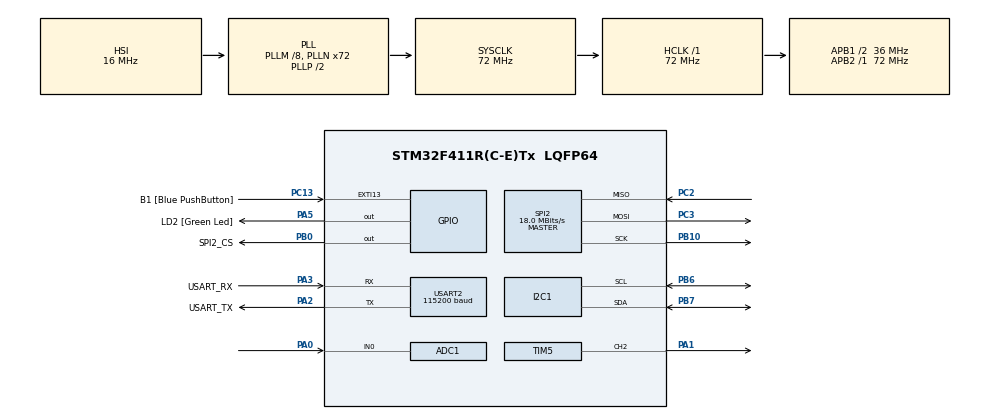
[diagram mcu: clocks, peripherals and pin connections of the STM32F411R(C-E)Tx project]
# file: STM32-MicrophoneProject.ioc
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ADC1.Channel-0\#ChannelRegularConversion=ADC_CHANNEL_0
ADC1.ClockPrescaler=ADC_CLOCK_SYNC_PCLK_DIV8
ADC1.ContinuousConvMode=ENABLE
ADC1.DMAContinuousRequests=ENABLE
ADC1.InjNumberOfConversion=0
ADC1.NbrOfConversion=1
ADC1.NbrOfConversionFlag=1
ADC1.Rank-0\#ChannelRegularConversion=1
ADC1.SamplingTime-0\#ChannelRegularConversion=ADC_SAMPLETIME_480CYCLES
ADC1.master=1
Dma.ADC1.0.Direction=DMA_PERIPH_TO_MEMORY
Dma.ADC1.0.FIFOMode=DMA_FIFOMODE_DISABLE
Dma.ADC1.0.Instance=DMA2_Stream0
Dma.ADC1.0.MemDataAlignment=DMA_MDATAALIGN_HALFWORD
Dma.ADC1.0.MemInc=DMA_MINC_ENABLE
Dma.ADC1.0.Mode=DMA_CIRCULAR
Dma.ADC1.0.PeriphDataAlignment=DMA_PDATAALIGN_HALFWORD
Dma.ADC1.0.PeriphInc=DMA_PINC_DISABLE
Dma.ADC1.0.Priority=DMA_PRIORITY_LOW
Dma.Request0=ADC1
FATFS._MAX_SS=4096
FATFS._USE_LFN=1
I2C1.OwnAddress=0x4E
Mcu.Family=STM32F4
Mcu.Name=STM32F411R(C-E)Tx
Mcu.Package=LQFP64
NVIC.DMA2_Stream0_IRQn=true\:2\:0\:true\:false\:true\:false\:true\:true
NVIC.EXTI15_10_IRQn=true\:1\:0\:true\:false\:true\:true\:true\:true
NVIC.PriorityGroup=NVIC_PRIORITYGROUP_2
NVIC.TIM3_IRQn=true\:2\:0\:true\:false\:true\:true\:true\:true
PA0-WKUP.Signal=ADCx_IN0
PA1.Signal=S_TIM5_CH2
PA13.GPIO_Label=TMS
PA13.Mode=Serial_Wire
PA13.Signal=SYS_JTMS-SWDIO
PA14.GPIO_Label=TCK
PA14.Mode=Serial_Wire
PA14.Signal=SYS_JTCK-SWCLK
PA2.GPIO_Label=USART_TX
PA2.Mode=Asynchronous
PA2.Signal=USART2_TX
PA3.GPIO_Label=USART_RX
PA3.Mode=Asynchronous
PA3.Signal=USART2_RX
PA5.GPIO_Label=LD2 [Green Led]
PA5.Signal=GPIO_Output
PB0.GPIO_Label=SPI2_CS
PB0.Signal=GPIO_Output
PB10.Mode=Full_Duplex_Master
PB10.Signal=SPI2_SCK
PB3.GPIO_Label=SWO
PB3.Signal=SYS_JTDO-SWO
PB6.Mode=I2C
PB6.Signal=I2C1_SCL
PB7.Mode=I2C
PB7.Signal=I2C1_SDA
PC13-ANTI_TAMP.GPIO_Label=B1 [Blue PushButton]
PC13-ANTI_TAMP.GPIO_ModeDefaultEXTI=GPIO_MODE_IT_FALLING
PC13-ANTI_TAMP.Signal=GPXTI13
PC14-OSC32_IN.Mode=LSE-External-Oscillator
PC14-OSC32_IN.Signal=RCC_OSC32_IN
PC15-OSC32_OUT.Mode=LSE-External-Oscillator
PC15-OSC32_OUT.Signal=RCC_OSC32_OUT
PC2.Mode=Full_Duplex_Master
PC2.Signal=SPI2_MISO
PC3.Mode=Full_Duplex_Master
PC3.Signal=SPI2_MOSI
PH0\ -\ OSC_IN.Mode=HSE-External-Oscillator
PH0\ -\ OSC_IN.Signal=RCC_OSC_IN
PH1\ -\ OSC_OUT.Mode=HSE-External-Oscillator
PH1\ -\ OSC_OUT.Signal=RCC_OSC_OUT
ProjectManager.HeapSize=0x200
ProjectManager.StackSize=0x400
ProjectManager.TargetToolchain=STM32CubeIDE
RCC.48MHZClocksFreq_Value=36000000
RCC.AHBFreq_Value=72000000
RCC.APB1CLKDivider=RCC_HCLK_DIV2
RCC.APB1Freq_Value=36000000
RCC.APB1TimFreq_Value=72000000
RCC.APB2Freq_Value=72000000
RCC.APB2TimFreq_Value=72000000
RCC.CortexFreq_Value=72000000
RCC.FLatency-AdvancedSettings=FLASH_LATENCY_2
RCC.HCLKFreq_Value=72000000
RCC.HSE_VALUE=8000000
RCC.HSI_VALUE=16000000
RCC.PLLM=8
RCC.PLLN=72
RCC.SYSCLKFreq_VALUE=72000000
RCC.SYSCLKSource=RCC_SYSCLKSOURCE_PLLCLK
RCC.VCOOutputFreq_Value=144000000
SH.ADCx_IN0.0=ADC1_IN0,IN0
SH.S_TIM5_CH2.0=TIM5_CH2,PWM Generation2 CH2
SPI2.CalculateBaudRate=18.0 MBits/s
SPI2.Direction=SPI_DIRECTION_2LINES
SPI2.Mode=SPI_MODE_MASTER
SPI2.VirtualType=VM_MASTER
TIM3.Period=9999
TIM3.Prescaler=7199
TIM5.Channel-PWM\ Generation2\ CH2=TIM_CHANNEL_2
TIM5.Period=14999
TIM5.Prescaler=38399
TIM5.Pulse-PWM\ Generation2\ CH2=12499
USART2.BaudRate=115200
USART2.VirtualMode=VM_ASYNC
VP_FATFS_VS_Generic.Mode=User_defined
VP_TIM3_VS_ClockSourceINT.Mode=Internal
VP_TIM5_VS_ClockSourceINT.Mode=Internal
board=NUCLEO-F411RE

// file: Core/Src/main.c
/* USER CODE BEGIN Header */
/**
  ******************************************************************************
  * @file           : main.c
  * @brief          : Main program body
  ******************************************************************************
  * @attention
  *
  * Copyright (c) 2024 STMicroelectronics.
  * All rights reserved.
  *
  * This software is licensed under terms that can be found in the LICENSE file
  * in the root directory of this software component.
  * If no LICENSE file comes with this software, it is provided AS-IS.
  *
  ******************************************************************************
  */
/* USER CODE END Header */
#include "main.h"
#include "fatfs.h"

/* USER CODE BEGIN Includes */
#include "fatfs_sd.h"
#include <string.h>
#include <stdio.h>
#include "wav_helper.h"
#include "lcd.h"
#include "arm_math.h"
/* USER CODE END Includes */

/* USER CODE BEGIN PD */
#define ADC_BUF_LEN (8192)
#define FFT_SIZE 512
#define FILTER_TAP_NUM 5
#define SAMPLING_RATE 18181
/* USER CODE END PD */

ADC_HandleTypeDef hadc1;
DMA_HandleTypeDef hdma_adc1;

I2C_HandleTypeDef hi2c1;

SPI_HandleTypeDef hspi2;

TIM_HandleTypeDef htim3;
TIM_HandleTypeDef htim5;

UART_HandleTypeDef huart2;

/* USER CODE BEGIN PV */
// SD card/FATFS variables
FATFS fs;    // File system object
FIL fil;     // File object
FILINFO fno;
FRESULT fresult;  // Result code
char buffer[1024];
UINT br, bw;  // File read/write count
FATFS *pfs;
DWORD fre_clust;
uint32_t total, free_space;

// .wav file variables
static wav_header_t wav_header_raw;
static wav_header_t wav_header_mod;
char wav_path_raw[26];
char wav_path_mod[26];
int write_only_mod = 0; // 0: write both the raw and modified .wav files. 1: write only the modified .wav file

// audio processing variables
uint16_t adc_buffer[ADC_BUF_LEN]; // binded memory point for the ADC DMA transfer
uint16_t robot_buffer[ADC_BUF_LEN/2];
int privacy_mode = 0;

static uint32_t max_dominant_unfiltered_frequency = 0;
static uint32_t max_dominant_filtered_frequency = 0;
static uint32_t dominant_unfiltered_frequency = 0;
static uint32_t dominant_filtered_frequency = 0;

float32_t fir_coeffs[FILTER_TAP_NUM] = {
	-0.00219403, -0.01486513,  0.9746578,  -0.01486513, -0.00219403
};

float32_t fir_state[ADC_BUF_LEN/2 + FILTER_TAP_NUM - 1];
arm_fir_instance_f32 fir_filter;

uint16_t filtered_adc_buf1[ADC_BUF_LEN/2], filtered_adc_buf2[ADC_BUF_LEN/2];
arm_rfft_fast_instance_f32 S; // RFFT instance
/* USER CODE END PV */

void SystemClock_Config(void);
static void MX_GPIO_Init(void);
static void MX_DMA_Init(void);
static void MX_USART2_UART_Init(void);
static void MX_SPI2_Init(void);
static void MX_TIM3_Init(void);
static void MX_ADC1_Init(void);
static void MX_I2C1_Init(void);
static void MX_TIM5_Init(void);
/* USER CODE BEGIN PFP */
void send_uart(char* string);
void bufclear(char *buffer);
void apply_high_pass_filter(uint16_t* input, uint16_t* output);
void robot_effect(uint16_t* input, uint16_t* output);
uint32_t apply_FFT(uint16_t* input);
/* USER CODE END PFP */

/* USER CODE BEGIN 0 */
void send_uart(char* string)
{
    uint8_t len = strlen(string);
    HAL_UART_Transmit(&huart2, (uint8_t*) string, len, HAL_MAX_DELAY);
}

void bufclear(char *buffer)
{
    for (int i = 0; i < 1024; i++)
    {
        buffer[i] = '\0';
    }
}

// return 1 if the buffer contains amplitudes above the threshold, 0 otherwise
int amplitude_threshold(uint16_t *buffer, uint32_t buffer_len, uint16_t threshold)
{
	for (int i = 0; i < buffer_len; i++) {
		if (buffer[i] > threshold) {
			return 1;
		}
	}
	return 0;
}

// transform "input" buffer audio data using high-pass filter into "output" buffer
void apply_high_pass_filter(uint16_t* input, uint16_t* output) {
    float32_t temp_input[ADC_BUF_LEN/2];
    float32_t temp_output[ADC_BUF_LEN/2];

    for (uint32_t i = 0; i < ADC_BUF_LEN/2; i++) {
        temp_input[i] = (float32_t)input[i];
    }

    arm_fir_f32(&fir_filter, temp_input, temp_output, ADC_BUF_LEN/2);

    for (uint32_t i = 0; i < ADC_BUF_LEN/2; i++) {
        output[i] = (uint16_t)temp_output[i];
    }
}

// apply 3 delays onto audio data from "input", result in "output"
void robot_effect(uint16_t* input, uint16_t* output) {
    for (uint32_t i = 0; i < ADC_BUF_LEN/2; i++) {
      if (i < 200) {
        output[i] = input[i];
      } else if (i < 400) {
        output[i] = (input[i] + input[i - 200]) / 2 ;
      } else {
        output[i] = (input[i] + input[i - 200] + input[i - 400]) / 3 ;
      }
    }
}

// do a fast fourier transform on "input", returns dominant frequent value
uint32_t apply_FFT(uint16_t* input) {
    float32_t temp_output[FFT_SIZE];
    float32_t current_block[FFT_SIZE];
    uint32_t max_value = 0;
    uint32_t max_index = 0;

    // Convert ADC input to float32 and copy to current_block
    for (uint32_t i = 4; i < FFT_SIZE; i++) {
        current_block[i] = (float32_t)input[i];
    }

    // Perform FFT
    arm_rfft_fast_f32(&S, current_block, temp_output, 0);

    // Calculate magnitudes and find the max value
    for (uint32_t i = 1; i < FFT_SIZE / 2; i++) { // Ignoring the DC component at index 0
        float32_t magnitude = sqrtf(temp_output[2 * i] * temp_output[2 * i] + temp_output[2 * i + 1] * temp_output[2 * i + 1]);;
        if (magnitude > max_value) {
            max_value = magnitude;
            max_index = i;
        }
    }

    // Calculate the dominant frequency in Hz
    float32_t frequency_resolution = (float32_t)SAMPLING_RATE / FFT_SIZE;
    return (uint32_t)(max_index * frequency_resolution);
}

/* USER CODE END 0 */

int main(void)
{

  /* MCU Configuration--------------------------------------------------------*/

  /* Reset of all peripherals, Initializes the Flash interface and the Systick. */
  HAL_Init();

  /* Configure the system clock */
  SystemClock_Config();

  /* Initialize all configured peripherals */
  MX_GPIO_Init();
  MX_DMA_Init();
  MX_USART2_UART_Init();
  MX_SPI2_Init();
  MX_FATFS_Init();
  MX_TIM3_Init();
  MX_ADC1_Init();
  MX_I2C1_Init();
  MX_TIM5_Init();
  /* USER CODE BEGIN 2 */

  HAL_Delay(1000); // Short delay to allow the SD card to settle

  HAL_TIM_Base_Start_IT(&htim3); // start 1Hz timer

  // check that LCD device is ready
  HAL_StatusTypeDef res = HAL_I2C_IsDeviceReady(&hi2c1, 0x4E, 2, 5000);
  if (res != HAL_OK) {
	  send_uart("Failed to connect to LCD device\n");
  }

  // initialise LCD device
  lcd_init();
  lcd_clear();

  /* Mount SD card */
  fresult = f_mount(&fs, "", 1);
  if (fresult != FR_OK) {
      send_uart("ERROR!!! in mounting SD CARD...\n\n");
  }
  else
      send_uart("SD CARD mounted successfully...\n\n");

  /* Check free space */
  f_getfree("", &fre_clust, &pfs);

  total = (uint32_t)((pfs->n_fatent - 2) * pfs->csize * 0.5);
  sprintf(buffer, "SD card total size:\t%lu\n", total);
  send_uart(buffer);
  bufclear(buffer);

  free_space = (uint32_t)(fre_clust * pfs->csize * 0.5);
  sprintf(buffer, "SD card free space:\t%lu\n", free_space);
  send_uart(buffer);
  bufclear(buffer);

  // create raw and process audio .wav files on the SD card
  int ret = create_new_wavfile(&wav_header_raw, wav_path_raw, 1);
  if (ret < 0) {
	  send_uart("Failed to create new .wav file\n");
  }
  ret = create_new_wavfile(&wav_header_mod, wav_path_mod, 0);
  if (ret < 0) {
	  send_uart("Failed to create new .wav file\n");
  }

  // start ADC DMA continuous conversion
  HAL_ADC_Start_DMA(&hadc1, (uint32_t *)adc_buffer, ADC_BUF_LEN);

  // initialise FFT/high-pass instances
  arm_fir_init_f32(&fir_filter, FILTER_TAP_NUM, fir_coeffs, fir_state, ADC_BUF_LEN/2);
  arm_rfft_fast_init_f32(&S, FFT_SIZE);

  /* USER CODE END 2 */

  /* Infinite loop */
  while (1)
  {

    /* USER CODE BEGIN 3 */
    // Main loop
  }
  /* USER CODE END 3 */
}

void SystemClock_Config(void)
{
  RCC_OscInitTypeDef RCC_OscInitStruct = {0};
  RCC_ClkInitTypeDef RCC_ClkInitStruct = {0};

  /** Configure the main internal regulator output voltage
  */
  __HAL_RCC_PWR_CLK_ENABLE();
  __HAL_PWR_VOLTAGESCALING_CONFIG(PWR_REGULATOR_VOLTAGE_SCALE1);

  /** Initializes the RCC Oscillators according to the specified parameters
  * in the RCC_OscInitTypeDef structure.
  */
  RCC_OscInitStruct.OscillatorType = RCC_OSCILLATORTYPE_HSI;
  RCC_OscInitStruct.HSIState = RCC_HSI_ON;
  RCC_OscInitStruct.HSICalibrationValue = RCC_HSICALIBRATION_DEFAULT;
  RCC_OscInitStruct.PLL.PLLState = RCC_PLL_ON;
  RCC_OscInitStruct.PLL.PLLSource = RCC_PLLSOURCE_HSI;
  RCC_OscInitStruct.PLL.PLLM = 8;
  RCC_OscInitStruct.PLL.PLLN = 72;
  RCC_OscInitStruct.PLL.PLLP = RCC_PLLP_DIV2;
  RCC_OscInitStruct.PLL.PLLQ = 4;
  if (HAL_RCC_OscConfig(&RCC_OscInitStruct) != HAL_OK)
  {
    Error_Handler();
  }

  /** Initializes the CPU, AHB and APB buses clocks
  */
  RCC_ClkInitStruct.ClockType = RCC_CLOCKTYPE_HCLK|RCC_CLOCKTYPE_SYSCLK
                              |RCC_CLOCKTYPE_PCLK1|RCC_CLOCKTYPE_PCLK2;
  RCC_ClkInitStruct.SYSCLKSource = RCC_SYSCLKSOURCE_PLLCLK;
  RCC_ClkInitStruct.AHBCLKDivider = RCC_SYSCLK_DIV1;
  RCC_ClkInitStruct.APB1CLKDivider = RCC_HCLK_DIV2;
  RCC_ClkInitStruct.APB2CLKDivider = RCC_HCLK_DIV1;

  if (HAL_RCC_ClockConfig(&RCC_ClkInitStruct, FLASH_LATENCY_2) != HAL_OK)
  {
    Error_Handler();
  }
}

static void MX_ADC1_Init(void)
{

  ADC_ChannelConfTypeDef sConfig = {0};

  /** Configure the global features of the ADC (Clock, Resolution, Data Alignment and number of conversion)
  */
  hadc1.Instance = ADC1;
  hadc1.Init.ClockPrescaler = ADC_CLOCK_SYNC_PCLK_DIV8;
  hadc1.Init.Resolution = ADC_RESOLUTION_12B;
  hadc1.Init.ScanConvMode = DISABLE;
  hadc1.Init.ContinuousConvMode = ENABLE;
  hadc1.Init.DiscontinuousConvMode = DISABLE;
  hadc1.Init.ExternalTrigConvEdge = ADC_EXTERNALTRIGCONVEDGE_NONE;
  hadc1.Init.ExternalTrigConv = ADC_SOFTWARE_START;
  hadc1.Init.DataAlign = ADC_DATAALIGN_RIGHT;
  hadc1.Init.NbrOfConversion = 1;
  hadc1.Init.DMAContinuousRequests = ENABLE;
  hadc1.Init.EOCSelection = ADC_EOC_SINGLE_CONV;
  if (HAL_ADC_Init(&hadc1) != HAL_OK)
  {
    Error_Handler();
  }

  /** Configure for the selected ADC regular channel its corresponding rank in the sequencer and its sample time.
  */
  sConfig.Channel = ADC_CHANNEL_0;
  sConfig.Rank = 1;
  sConfig.SamplingTime = ADC_SAMPLETIME_480CYCLES;
  if (HAL_ADC_ConfigChannel(&hadc1, &sConfig) != HAL_OK)
  {
    Error_Handler();
  }

}

static void MX_I2C1_Init(void)
{

  hi2c1.Instance = I2C1;
  hi2c1.Init.ClockSpeed = 100000;
  hi2c1.Init.DutyCycle = I2C_DUTYCYCLE_2;
  hi2c1.Init.OwnAddress1 = 156;
  hi2c1.Init.AddressingMode = I2C_ADDRESSINGMODE_7BIT;
  hi2c1.Init.DualAddressMode = I2C_DUALADDRESS_DISABLE;
  hi2c1.Init.OwnAddress2 = 0;
  hi2c1.Init.GeneralCallMode = I2C_GENERALCALL_DISABLE;
  hi2c1.Init.NoStretchMode = I2C_NOSTRETCH_DISABLE;
  if (HAL_I2C_Init(&hi2c1) != HAL_OK)
  {
    Error_Handler();
  }

}

static void MX_SPI2_Init(void)
{

  /* SPI2 parameter configuration*/
  hspi2.Instance = SPI2;
  hspi2.Init.Mode = SPI_MODE_MASTER;
  hspi2.Init.Direction = SPI_DIRECTION_2LINES;
  hspi2.Init.DataSize = SPI_DATASIZE_8BIT;
  hspi2.Init.CLKPolarity = SPI_POLARITY_LOW;
  hspi2.Init.CLKPhase = SPI_PHASE_1EDGE;
  hspi2.Init.NSS = SPI_NSS_SOFT;
  hspi2.Init.BaudRatePrescaler = SPI_BAUDRATEPRESCALER_2;
  hspi2.Init.FirstBit = SPI_FIRSTBIT_MSB;
  hspi2.Init.TIMode = SPI_TIMODE_DISABLE;
  hspi2.Init.CRCCalculation = SPI_CRCCALCULATION_DISABLE;
  hspi2.Init.CRCPolynomial = 10;
  if (HAL_SPI_Init(&hspi2) != HAL_OK)
  {
    Error_Handler();
  }

}

static void MX_TIM3_Init(void)
{

  TIM_ClockConfigTypeDef sClockSourceConfig = {0};
  TIM_MasterConfigTypeDef sMasterConfig = {0};

  htim3.Instance = TIM3;
  htim3.Init.Prescaler = 7199;
  htim3.Init.CounterMode = TIM_COUNTERMODE_UP;
  htim3.Init.Period = 9999;
  htim3.Init.ClockDivision = TIM_CLOCKDIVISION_DIV1;
  htim3.Init.AutoReloadPreload = TIM_AUTORELOAD_PRELOAD_DISABLE;
  if (HAL_TIM_Base_Init(&htim3) != HAL_OK)
  {
    Error_Handler();
  }
  sClockSourceConfig.ClockSource = TIM_CLOCKSOURCE_INTERNAL;
  if (HAL_TIM_ConfigClockSource(&htim3, &sClockSourceConfig) != HAL_OK)
  {
    Error_Handler();
  }
  sMasterConfig.MasterOutputTrigger = TIM_TRGO_RESET;
  sMasterConfig.MasterSlaveMode = TIM_MASTERSLAVEMODE_DISABLE;
  if (HAL_TIMEx_MasterConfigSynchronization(&htim3, &sMasterConfig) != HAL_OK)
  {
    Error_Handler();
  }

}

static void MX_TIM5_Init(void)
{

  TIM_ClockConfigTypeDef sClockSourceConfig = {0};
  TIM_MasterConfigTypeDef sMasterConfig = {0};
  TIM_OC_InitTypeDef sConfigOC = {0};

  htim5.Instance = TIM5;
  htim5.Init.Prescaler = 38399;
  htim5.Init.CounterMode = TIM_COUNTERMODE_UP;
  htim5.Init.Period = 14999;
  htim5.Init.ClockDivision = TIM_CLOCKDIVISION_DIV1;
  htim5.Init.AutoReloadPreload = TIM_AUTORELOAD_PRELOAD_DISABLE;
  if (HAL_TIM_Base_Init(&htim5) != HAL_OK)
  {
    Error_Handler();
  }
  sClockSourceConfig.ClockSource = TIM_CLOCKSOURCE_INTERNAL;
  if (HAL_TIM_ConfigClockSource(&htim5, &sClockSourceConfig) != HAL_OK)
  {
    Error_Handler();
  }
  if (HAL_TIM_PWM_Init(&htim5) != HAL_OK)
  {
    Error_Handler();
  }
  sMasterConfig.MasterOutputTrigger = TIM_TRGO_RESET;
  sMasterConfig.MasterSlaveMode = TIM_MASTERSLAVEMODE_DISABLE;
  if (HAL_TIMEx_MasterConfigSynchronization(&htim5, &sMasterConfig) != HAL_OK)
  {
    Error_Handler();
  }
  sConfigOC.OCMode = TIM_OCMODE_PWM1;
  sConfigOC.Pulse = 12499;
  sConfigOC.OCPolarity = TIM_OCPOLARITY_HIGH;
  sConfigOC.OCFastMode = TIM_OCFAST_DISABLE;
  if (HAL_TIM_PWM_ConfigChannel(&htim5, &sConfigOC, TIM_CHANNEL_2) != HAL_OK)
  {
    Error_Handler();
  }
  HAL_TIM_MspPostInit(&htim5);

}

static void MX_USART2_UART_Init(void)
{

  huart2.Instance = USART2;
  huart2.Init.BaudRate = 115200;
  huart2.Init.WordLength = UART_WORDLENGTH_8B;
  huart2.Init.StopBits = UART_STOPBITS_1;
  huart2.Init.Parity = UART_PARITY_NONE;
  huart2.Init.Mode = UART_MODE_TX_RX;
  huart2.Init.HwFlowCtl = UART_HWCONTROL_NONE;
  huart2.Init.OverSampling = UART_OVERSAMPLING_16;
  if (HAL_UART_Init(&huart2) != HAL_OK)
  {
    Error_Handler();
  }

}

static void MX_DMA_Init(void)
{

  /* DMA controller clock enable */
  __HAL_RCC_DMA2_CLK_ENABLE();

  /* DMA interrupt init */
  /* DMA2_Stream0_IRQn interrupt configuration */
  HAL_NVIC_SetPriority(DMA2_Stream0_IRQn, 2, 0);
  HAL_NVIC_EnableIRQ(DMA2_Stream0_IRQn);

}

static void MX_GPIO_Init(void)
{
  GPIO_InitTypeDef GPIO_InitStruct = {0};

  /* GPIO Ports Clock Enable */
  __HAL_RCC_GPIOC_CLK_ENABLE();
  __HAL_RCC_GPIOH_CLK_ENABLE();
  __HAL_RCC_GPIOA_CLK_ENABLE();
  __HAL_RCC_GPIOB_CLK_ENABLE();

  /*Configure GPIO pin Output Level */
  HAL_GPIO_WritePin(LD2_GPIO_Port, LD2_Pin, GPIO_PIN_RESET);

  /*Configure GPIO pin Output Level */
  HAL_GPIO_WritePin(SPI2_CS_GPIO_Port, SPI2_CS_Pin, GPIO_PIN_RESET);

  /*Configure GPIO pin : B1_Pin */
  GPIO_InitStruct.Pin = B1_Pin;
  GPIO_InitStruct.Mode = GPIO_MODE_IT_FALLING;
  GPIO_InitStruct.Pull = GPIO_NOPULL;
  HAL_GPIO_Init(B1_GPIO_Port, &GPIO_InitStruct);

  /*Configure GPIO pin : LD2_Pin */
  GPIO_InitStruct.Pin = LD2_Pin;
  GPIO_InitStruct.Mode = GPIO_MODE_OUTPUT_PP;
  GPIO_InitStruct.Pull = GPIO_NOPULL;
  GPIO_InitStruct.Speed = GPIO_SPEED_FREQ_LOW;
  HAL_GPIO_Init(LD2_GPIO_Port, &GPIO_InitStruct);

  /*Configure GPIO pin : SPI2_CS_Pin */
  GPIO_InitStruct.Pin = SPI2_CS_Pin;
  GPIO_InitStruct.Mode = GPIO_MODE_OUTPUT_PP;
  GPIO_InitStruct.Pull = GPIO_NOPULL;
  GPIO_InitStruct.Speed = GPIO_SPEED_FREQ_LOW;
  HAL_GPIO_Init(SPI2_CS_GPIO_Port, &GPIO_InitStruct);

  /* EXTI interrupt init*/
  HAL_NVIC_SetPriority(EXTI15_10_IRQn, 1, 0);
  HAL_NVIC_EnableIRQ(EXTI15_10_IRQn);

}

/* USER CODE BEGIN 4 */
void HAL_ADC_ConvHalfCpltCallback(ADC_HandleTypeDef* hadc)
{
	// high-pass on raw audio data as a baseline
    apply_high_pass_filter(&adc_buffer[0], filtered_adc_buf1);

    // display baseline audio data if it exceeds the audio threshold (sound is detected)
    if (amplitude_threshold(filtered_adc_buf1, ADC_BUF_LEN/2, 1850) == 1) {
    	HAL_UART_Transmit(&huart2, (uint8_t*) filtered_adc_buf1, (ADC_BUF_LEN/2)*sizeof(uint16_t), 25);
	}

    // if we're in privacy mode, add robot effect and then high-pass it again
    if (privacy_mode) {
        robot_effect(filtered_adc_buf1, robot_buffer);
        apply_high_pass_filter(robot_buffer, filtered_adc_buf1); // Apply HPF again after robot effect
        dominant_filtered_frequency = apply_FFT(filtered_adc_buf1); // keep track of dominant frequency for LCD screen

	// normal mode just keep track of dominant frequency for LCD screen, no further processing needed
    } else {
        dominant_filtered_frequency = apply_FFT(filtered_adc_buf1);
    }
    // get dominant frequency of raw audio data (before even the initial high-pass) for comparison.
    dominant_unfiltered_frequency = apply_FFT(adc_buffer);

    // update current max dominant frequencies (for LCD screen, since it's only updated every second)
    if (dominant_unfiltered_frequency > max_dominant_unfiltered_frequency) {
      max_dominant_unfiltered_frequency = dominant_unfiltered_frequency;
    }
    if (dominant_filtered_frequency > max_dominant_filtered_frequency) {
      max_dominant_filtered_frequency = dominant_filtered_frequency;
    }
    // update both raw and modified .wav files on the SD card
    if (write_only_mod == 0) {
    	update_wavfile(wav_path_raw, &wav_header_raw, adc_buffer, (ADC_BUF_LEN/2)*sizeof(uint16_t));
    }
    update_wavfile(wav_path_mod, &wav_header_mod, filtered_adc_buf1, (ADC_BUF_LEN/2)*sizeof(uint16_t));
}

void HAL_ADC_ConvCpltCallback(ADC_HandleTypeDef* hadc)
{
	// high-pass on raw audio data as a baseline
    apply_high_pass_filter(&adc_buffer[ADC_BUF_LEN/2], filtered_adc_buf2);

    // display baseline audio data if it exceeds the audio threshold (sound is detected)
    if (amplitude_threshold(filtered_adc_buf2, ADC_BUF_LEN/2, 1850) == 1) {
    	HAL_UART_Transmit(&huart2, (uint8_t*) filtered_adc_buf2, (ADC_BUF_LEN/2)*sizeof(uint16_t), 25);
    }

    // if we're in privacy mode, add robot effect and then high-pass it again
    if (privacy_mode) {
        robot_effect(filtered_adc_buf2, robot_buffer);
        apply_high_pass_filter(robot_buffer, filtered_adc_buf2); // Apply HPF again after robot effect
        dominant_filtered_frequency = apply_FFT(filtered_adc_buf2); // keep track of dominant frequency for LCD screen

	// normal mode just keep track of dominant frequency for LCD screen, no further processing needed
    } else {
        dominant_filtered_frequency = apply_FFT(filtered_adc_buf2);
    }
    // get dominant frequency of raw audio data (before even the initial high-pass) for comparison.
    dominant_unfiltered_frequency = apply_FFT(&adc_buffer[ADC_BUF_LEN/2]);

    // update current max dominant frequencies (for LCD screen, since it's only updated every second)
    if (dominant_unfiltered_frequency > max_dominant_unfiltered_frequency) {
      max_dominant_unfiltered_frequency = dominant_unfiltered_frequency;
    }
    if (dominant_filtered_frequency > max_dominant_filtered_frequency) {
      max_dominant_filtered_frequency = dominant_filtered_frequency;
    }
    // update both raw and modified .wav files on the SD card
    if (write_only_mod == 0) {
    	update_wavfile(wav_path_raw, &wav_header_raw, &adc_buffer[ADC_BUF_LEN/2], (ADC_BUF_LEN/2)*sizeof(uint16_t));
    }
    update_wavfile(wav_path_mod, &wav_header_mod, filtered_adc_buf2, (ADC_BUF_LEN/2)*sizeof(uint16_t));
}
void HAL_GPIO_EXTI_Callback(uint16_t GPIO_Pin) {
	// if the blue push-button is pressed, toggle the privacy mode
    if (GPIO_Pin == B1_Pin) {
        privacy_mode = !privacy_mode;
        if (privacy_mode) {
            send_uart("Privacy Mode Enabled\n");
        } else {
            send_uart("Privacy Mode Disabled\n");
        }
    }
}

void HAL_TIM_PeriodElapsedCallback(TIM_HandleTypeDef *htim)
{
	// if the 1Hz timer period has ellapsed (1 second has passed):
	// update the LCD screen with the dominant frequencies of the original and modified audio signal
	// and display the current mode
	if(htim->Instance == htim3.Instance) {
		char line_buf[17];
		lcd_clear();
		HAL_Delay(10);
		lcd_set_line_cursor(0);
		sprintf(line_buf, "OG: %lu MOD: %lu", max_dominant_unfiltered_frequency, max_dominant_filtered_frequency);
		HAL_Delay(10);
		lcd_send_string(line_buf);
		HAL_Delay(10);
		if (privacy_mode) {
			sprintf(line_buf, "Privacy Mode ON");
		} else {
			sprintf(line_buf, "Privacy Mode OFF");
		}
		lcd_set_line_cursor(1);
		HAL_Delay(10);
		lcd_send_string(line_buf);

		max_dominant_filtered_frequency = 0;
		max_dominant_unfiltered_frequency = 0;
	}
}
/* USER CODE END 4 */

void Error_Handler(void)
{
  __disable_irq();
  while (1)
  {
  }
}
